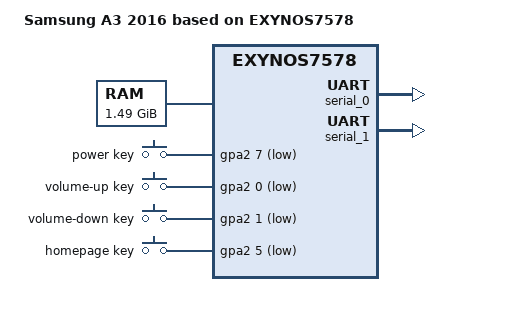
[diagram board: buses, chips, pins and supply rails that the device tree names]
// SPDX-License-Identifier: GPL-2.0
/*
 * SAMSUNG A3 2016 device tree source
 */

/dts-v1/;
#include "exynos7578.dtsi"
#include <dt-bindings/gpio/gpio.h>
#include <dt-bindings/input/input.h>

/ {
	model = "Samsung A3 2016 based on EXYNOS7578";
	compatible = "samsung,exynos7578-a3xeltexx", "samsung,exynos7578";

	chosen {
		bootargs = "console=ttySAC1,115200 earlycon=exynos4210,0x13810000 clk_ignore_unused ignore_loglevel";
		stdout-path = &serial_1;

		linux,initrd-start = <0x42000000>;
		linux,initrd-end = <0x421FFFFF>;
	};

	memory@40000000 {
		device_type = "memory";
		reg = <0x40000000 0x18000000
			0x58000000 0x18000000
			0x70000000 0x18000000
			0x88000000 0x17700000>;
	};

	gpio-keys {
		compatible = "gpio-keys";
		pinctrl-names = "default";
		pinctrl-0 = <&gpa2_pull_up_univ>;

		power-key {
			gpios = <&gpa2 7 GPIO_ACTIVE_LOW>;
			linux,code = <KEY_POWER>;
			label = "power key";
			wakeup-source;
		};

		volume-up-key {
			gpios = <&gpa2 0 GPIO_ACTIVE_LOW>;
			linux,code = <KEY_VOLUMEUP>;
			label = "volume-up key";
		};

		volume-down-key {
			gpios = <&gpa2 1 GPIO_ACTIVE_LOW>;
			linux,code = <KEY_VOLUMEDOWN>;
			label = "volume-down key";
		};

		homepage-key {
			gpios = <&gpa2 5 GPIO_ACTIVE_LOW>;
			linux,code = <KEY_MENU>;
			label = "homepage key";
			wakeup-source;
		};
	};
};

&serial_0 {
	status = "okay";
};

&serial_1 {
	status = "okay";
};

&timer {
	clock-frequency = <26000000>;
};

&xxti {
	clock-frequency = <26000000>;
};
